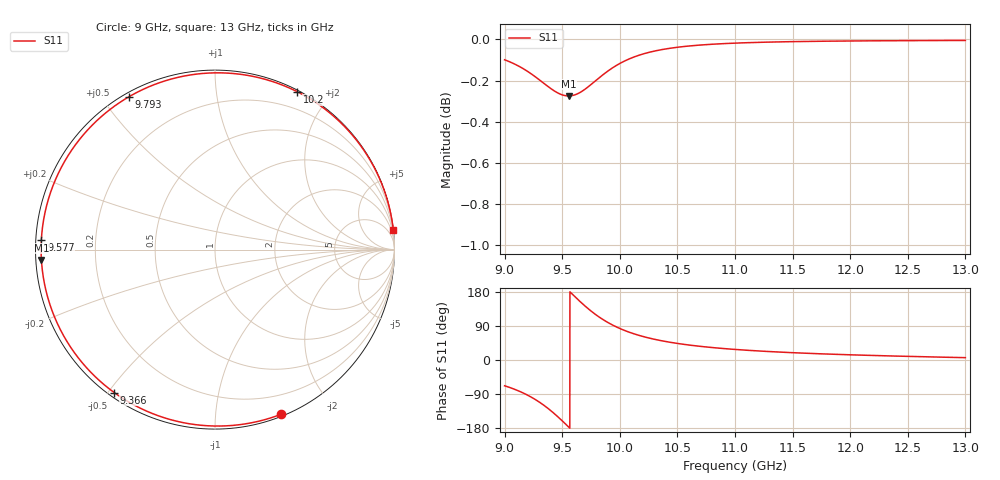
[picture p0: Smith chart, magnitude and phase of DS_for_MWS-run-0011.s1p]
! TOUCHSTONE file generated by CST DESIGN STUDIO
! Date and time: Tue Feb  4 17:31:09 2025
! Project name: C:\Work\MatlabApps\UnitCellOptimizationMatlab\CST\unitcell.cst
! Tree item: Tasks\Sweep1\SPara1\S-Parameters
! Header version: 2024
! Port assignment regex: !\s*Touchstone port\s*([0-9]+)\s*=\s*(CST MWS port|CST DES external port|CST DES block port)\s*(.+)\s* \(\"(.*)\"\)(\s*mode\s*([0-9]+))?.*
! Touchstone port assignment:
! Touchstone port 1 = CST DES external port 1 ("")
# GHz S MA R 50
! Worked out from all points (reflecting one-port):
!   4001 points, 9 GHz to 13 GHz, reference 50 ohm
!   lowest |S11| = -0.3 dB at 9.555 GHz (marker M1), VSWR 63.21, Z = 0.792 - j1.49 ohm
!   phase of S11 starts at -68 deg and turns -286 deg over the sweep
!   S11 on the Smith chart (normalised r, x): 9 GHz: 0.02, -1.48; 9.366 GHz: 0.02, -0.52; 9.577 GHz: 0.02, +0.03; 9.793 GHz: 0.02, +0.59; 10.2 GHz: 0.02, +1.65; 13 GHz: 0, +18
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9  0.9887 -68.0
9.04  0.9876 -72.0
9.106  0.9857 -79.6
9.219  0.9814 -95.9
9.297  0.9778 -110.2
9.366  0.9745 -125.2
9.431  0.9716 -141.4
9.5  0.9694 -160.5
9.555  0.9689 -176.6
9.577  0.9689 176.9
9.632  0.97 160.8
9.692  0.9722 144.1
9.742  0.9746 131.2
9.793  0.9773 119.3
9.838  0.9796 109.8
9.886  0.982 100.8
9.939  0.9843 92.0
10  0.9866 83.2
10.094  0.9895 72.0
10.196  0.9918 62.5
10.335  0.9939 52.5
10.5  0.9956 43.7
10.721  0.997 35.3
11  0.9979 27.9
11.5  0.9987 19.3
12  0.9991 13.7
12.5  0.9993 9.5
13  0.9994 6.2
